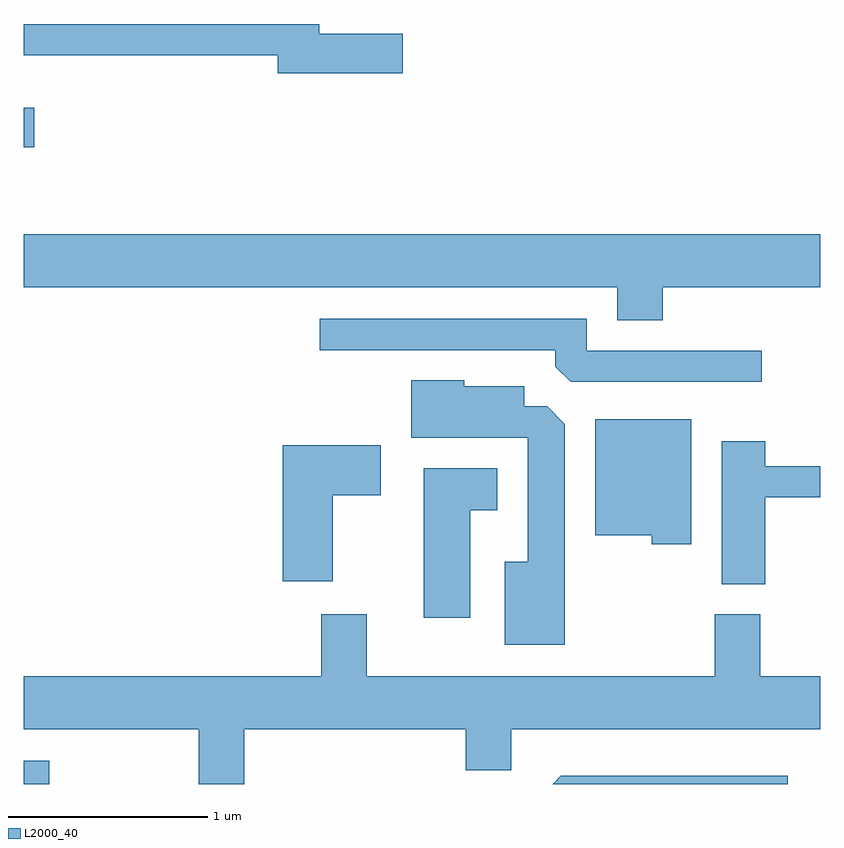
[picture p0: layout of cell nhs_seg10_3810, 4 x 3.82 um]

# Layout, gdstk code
import gdstk
lib = gdstk.Library(unit=1e-6, precision=1e-09)
def R(c, l, rs):  # rectangles x0, y0, x1, y1
    for r in rs: c.add(gdstk.rectangle(r[:2], r[2:], *l))
def P(c, l, *ps):  # polygons
    for p in ps: c.add(gdstk.Polygon(p, *l))
L2000_40 = (2000, 40)

nhs_seg10_3810 = lib.new_cell('nhs_seg10_3810')
R(nhs_seg10_3810, L2000_40, [(297.611,2122.522,297.739,2122.639), (297.611,2125.721,297.664,2125.919)])
P(nhs_seg10_3810, L2000_40, [(299.514,2126.289),(299.094,2126.289),(299.094,2126.339),(297.611,2126.339),(297.611,2126.181),(298.886,2126.181),(298.886,2126.091),(299.514,2126.091)],
  [(300.819,2125.016),(301.611,2125.016),(301.611,2125.284),(297.611,2125.284),(297.611,2125.016),(300.591,2125.016),(300.591,2124.851),(300.819,2124.851)],
  [(301.318,2124.699),(300.439,2124.699),(300.439,2124.859),(299.098,2124.859),(299.098,2124.701),(300.281,2124.701),(300.281,2124.617),(300.357,2124.541),(301.318,2124.541)],
  [(300.329,2124.329),(300.239,2124.419),(300.124,2124.419),(300.124,2124.519),(299.824,2124.519),(299.824,2124.549),(299.556,2124.549),(299.556,2124.261),(300.141,2124.261),(300.141,2123.639),(300.026,2123.639),(300.026,2123.221),(300.329,2123.221)],
  [(300.964,2124.354),(300.481,2124.354),(300.481,2123.771),(300.766,2123.771),(300.766,2123.726),(300.964,2123.726)],
  [(301.334,2123.961),(301.611,2123.961),(301.611,2124.119),(301.334,2124.119),(301.334,2124.244),(301.116,2124.244),(301.116,2123.526),(301.334,2123.526)],
  [(299.164,2123.971),(299.404,2123.971),(299.404,2124.224),(298.911,2124.224),(298.911,2123.541),(299.164,2123.541)],
  [(299.854,2123.896),(299.989,2123.896),(299.989,2124.109),(299.621,2124.109),(299.621,2123.356),(299.854,2123.356)],
  [(298.719,2122.796),(299.831,2122.796),(299.831,2122.591),(300.059,2122.591),(300.059,2122.796),(301.611,2122.796),(301.611,2123.064),(301.309,2123.064),(301.309,2123.374),(301.081,2123.374),(301.081,2123.064),(299.334,2123.064),(299.334,2123.374),(299.106,2123.374),(299.106,2123.064),(297.611,2123.064),(297.611,2122.796),(298.491,2122.796),(298.491,2122.522),(298.719,2122.522)],
  [(301.448,2122.564),(300.309,2122.564),(300.267,2122.522),(301.448,2122.522)])

lib.write_gds('nhs_seg10_3810.gds')
